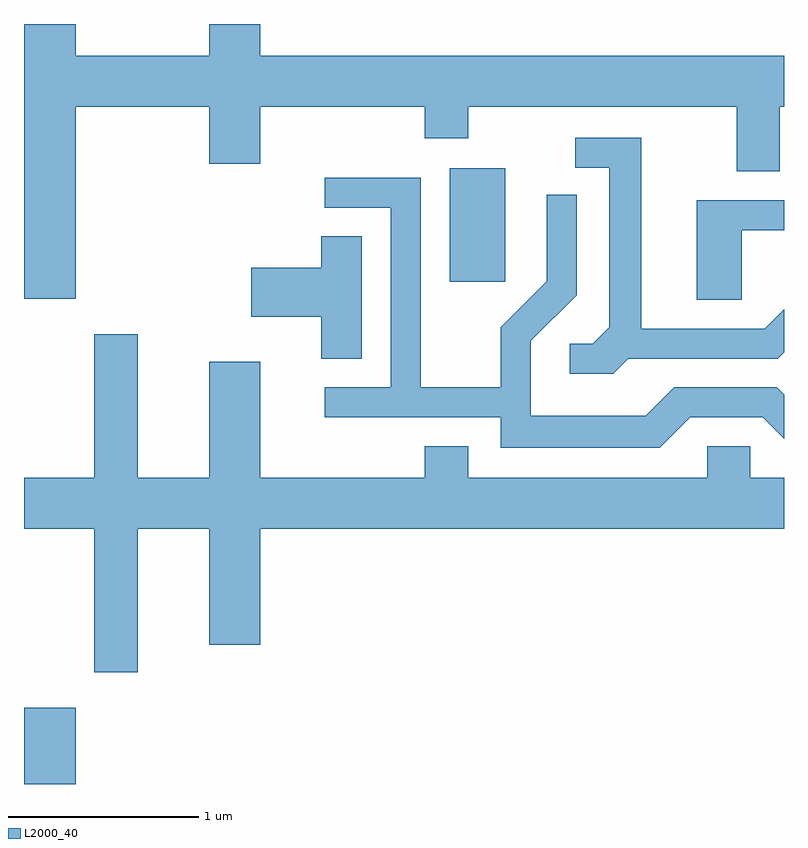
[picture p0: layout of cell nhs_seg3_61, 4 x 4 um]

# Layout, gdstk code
import gdstk
lib = gdstk.Library(unit=1e-6, precision=1e-09)
def R(c, l, rs):  # rectangles x0, y0, x1, y1
    for r in rs: c.add(gdstk.rectangle(r[:2], r[2:], *l))
def P(c, l, *ps):  # polygons
    for p in ps: c.add(gdstk.Polygon(p, *l))
L2000_40 = (2000, 40)

nhs_seg3_61 = lib.new_cell('nhs_seg3_61')
R(nhs_seg3_61, L2000_40, [(185.611,1237.892,185.884,1238.294), (187.851,1240.536,188.144,1241.134)])
P(nhs_seg3_61, L2000_40, [(185.884,1241.456),(186.586,1241.456),(186.586,1241.156),(186.854,1241.156),(186.854,1241.456),(187.721,1241.456),(187.721,1241.291),(187.949,1241.291),(187.949,1241.456),(189.361,1241.456),(189.361,1241.116),(189.589,1241.116),(189.589,1241.456),(189.611,1241.456),(189.611,1241.724),(186.854,1241.724),(186.854,1241.892),(186.586,1241.892),(186.586,1241.724),(185.884,1241.724),(185.884,1241.892),(185.611,1241.892),(185.611,1240.446),(185.884,1240.446)],
  [(188.792,1240.131),(189.577,1240.131),(189.611,1240.165),(189.611,1240.392),(189.509,1240.289),(188.859,1240.289),(188.859,1241.294),(188.513,1241.294),(188.513,1241.136),(188.691,1241.136),(188.691,1240.297),(188.604,1240.209),(188.483,1240.209),(188.483,1240.051),(188.712,1240.051)],
  [(189.117,1239.821),(189.499,1239.821),(189.611,1239.709),(189.611,1239.94),(189.572,1239.979),(189.034,1239.979),(188.884,1239.829),(188.279,1239.829),(188.279,1240.224),(188.519,1240.464),(188.519,1240.993),(188.361,1240.993),(188.361,1240.537),(188.121,1240.297),(188.121,1239.979),(187.699,1239.979),(187.699,1241.084),(187.193,1241.084),(187.193,1240.926),(187.541,1240.926),(187.541,1239.979),(187.193,1239.979),(187.193,1239.821),(188.121,1239.821),(188.121,1239.661),(188.957,1239.661)],
  [(189.389,1240.806),(189.611,1240.806),(189.611,1240.964),(189.151,1240.964),(189.151,1240.441),(189.389,1240.441)],
  [(187.389,1240.774),(187.176,1240.774),(187.176,1240.609),(186.806,1240.609),(186.806,1240.351),(187.176,1240.351),(187.176,1240.131),(187.389,1240.131)],
  [(186.209,1239.236),(186.586,1239.236),(186.586,1238.626),(186.854,1238.626),(186.854,1239.236),(189.611,1239.236),(189.611,1239.504),(189.434,1239.504),(189.434,1239.669),(189.206,1239.669),(189.206,1239.504),(187.949,1239.504),(187.949,1239.669),(187.721,1239.669),(187.721,1239.504),(186.854,1239.504),(186.854,1240.114),(186.586,1240.114),(186.586,1239.504),(186.209,1239.504),(186.209,1240.259),(185.981,1240.259),(185.981,1239.504),(185.611,1239.504),(185.611,1239.236),(185.981,1239.236),(185.981,1238.481),(186.209,1238.481)])

lib.write_gds('nhs_seg3_61.gds')
